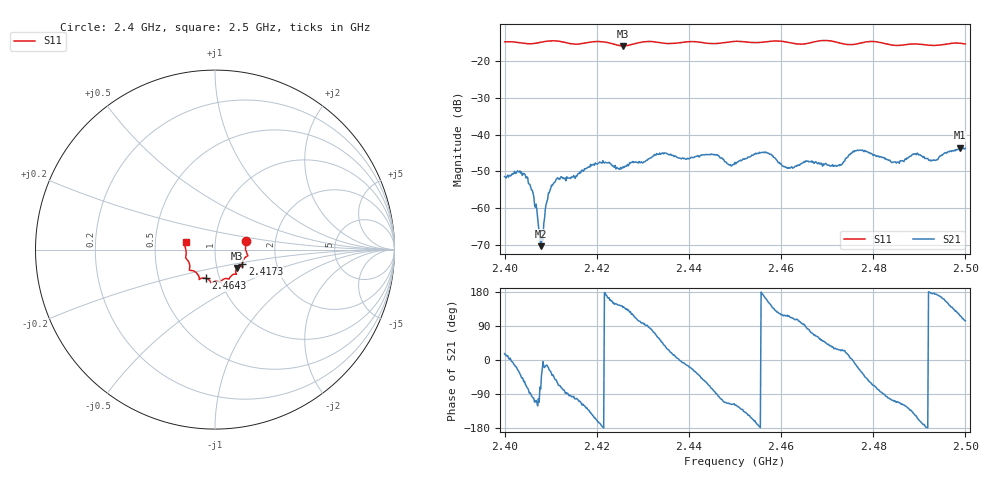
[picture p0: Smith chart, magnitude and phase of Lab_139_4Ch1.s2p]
# Hz S RI R 50
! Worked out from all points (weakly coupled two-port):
!   601 points, 2.4 GHz to 2.5 GHz, reference 50 ohm
!   highest |S21| = -43.58 dB at 2.4988 GHz (marker M1); lowest = -70.2 dB at 2.4078 GHz (marker M2)
!   lowest |S11| = -15.9 dB at 2.4257 GHz (marker M3), VSWR 1.38, Z = 62.4 - j13.1 ohm
!   |S11| at or under -10 dB: start of sweep to end of sweep
!   S12 and S22 are empty: the file has one direction only
!   S11 on the Smith chart (normalised r, x): 2.4 GHz: 1.41, +0.14; 2.4173 GHz: 1.34, -0.23; 2.4643 GHz: 0.86, -0.28; 2.5 GHz: 0.72, +0.06
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2.4e9  0.1735 0.0497  0.00258 0.00078  0 0  0 0
2.4045e9  0.1704 0.0195  0.00121 -0.00253  0 0  0 0
2.4065e9  0.1718 -0.00491  -0.000401 -0.00104  0 0  0 0
2.407833e9  0.1772 -0.0195  7.3e-05 -0.000298  0 0  0 0
2.408333e9  0.1797 -0.0238  0.000373 -2.87e-05  0 0  0 0
2.409333e9  0.1825 -0.0305  0.00126 -0.000384  0 0  0 0
2.410667e9  0.1834 -0.0339  0.00158 -0.00151  0 0  0 0
2.416667e9  0.1531 -0.0747  -0.00135 -0.00296  0 0  0 0
2.417333e9  0.1526 -0.0822  -0.00175 -0.00297  0 0  0 0
2.425667e9  0.1224 -0.1022  -0.00272 0.00242  0 0  0 0
2.433333e9  0.1129 -0.1367  0.00278 0.00462  0 0  0 0
2.45e9  0.0298 -0.181  -0.00205 -0.00367  0 0  0 0
2.456333e9  -0.00913 -0.1795  -0.00554 0.00122  0 0  0 0
2.461e9  -0.0261 -0.1783  -0.00158 0.00324  0 0  0 0
2.464333e9  -0.05 -0.1603  -0.000572 0.00397  0 0  0 0
2.466667e9  -0.0761 -0.1601  0.00138 0.00418  0 0  0 0
2.4725e9  -0.0891 -0.1518  0.00344 0.00175  0 0  0 0
2.477167e9  -0.1285 -0.1165  0.00543 -0.00293  0 0  0 0
2.483333e9  -0.1408 -0.0893  -0.000799 -0.00448  0 0  0 0
2.4935e9  -0.1611 -0.00757  -0.00445 0.000466  0 0  0 0
2.498833e9  -0.1694 0.0357  -0.00297 0.00591  0 0  0 0
2.5e9  -0.1636 0.0423  -0.0015 0.00637  0 0  0 0
